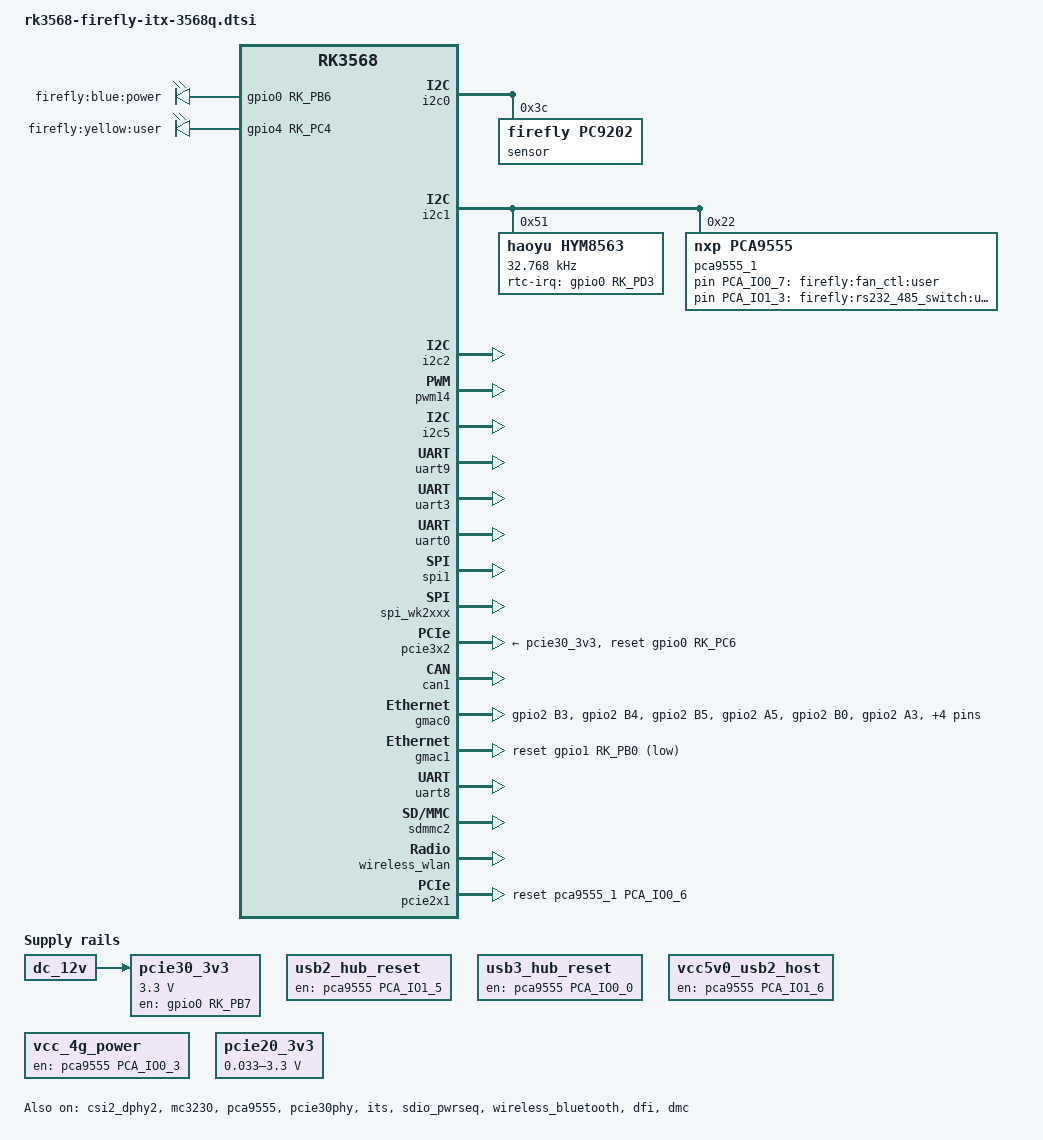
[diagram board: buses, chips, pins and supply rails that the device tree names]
// SPDX-License-Identifier: (GPL-2.0+ OR MIT)
/*
 * Copyright (c) 2020 Rockchip Electronics Co., Ltd.
 *
 */

#include "rk3568-firefly-port.dtsi"

/ {

	usb2_hub_reset: usb2-hub-reset-regulator {
		compatible = "regulator-fixed";
		enable-active-high;
		gpio = <&pca9555 PCA_IO1_5 GPIO_ACTIVE_HIGH>;
		regulator-name = "usb2_hub_reset_n";
		regulator-always-on;
	};

	usb3_hub_reset: usb3-hub-reset-regulator {
		compatible = "regulator-fixed";
		enable-active-high;
		gpio = <&pca9555 PCA_IO0_0 GPIO_ACTIVE_HIGH>;
		regulator-name = "usb3_hub_reset_n";
		regulator-always-on;
	};

	vcc5v0_usb2_host: vcc5v0-usb2-host-regulator {
		compatible = "regulator-fixed";
		enable-active-high;
		gpio = <&pca9555 PCA_IO1_6 GPIO_ACTIVE_HIGH>;
		regulator-name = "vcc5v0_usb2_host_en";
		regulator-always-on;
	};

    vcc_4g_power: vcc-4g-power-regulator {
        compatible = "regulator-fixed";
        enable-active-high;
        gpio = <&pca9555 PCA_IO0_3 GPIO_ACTIVE_HIGH>;
        regulator-name = "vcc_4g_power_en";
        regulator-always-on;
    };

// 	vcc_3v3_sata: vcc-sata-power-regulator {
//         compatible = "regulator-fixed";
//         enable-active-high;
//         gpio = <&pca9555 PCA_IO0_2 GPIO_ACTIVE_HIGH>;
//         regulator-name = "vcc_3v3_sata_en";
//         regulator-always-on;
//     };
//
// 	vcc_3v3_pci30: vcc-slot-power-regulator {
// 		compatible = "regulator-fixed";
// 		enable-active-high;
// 		gpio = <&gpio0 RK_PB7 GPIO_ACTIVE_HIGH>;
// 		regulator-name = "vcc_3v3_pci30_en";
// 		regulator-always-on;
// 	};

	firefly_leds: leds {
		status = "okay";
		compatible = "gpio-leds";

		power_led: power {
			label = "firefly:blue:power";
			linux,default-trigger = "ir-power-click";
			default-state = "on";
			gpios = <&gpio0 RK_PB6 GPIO_ACTIVE_HIGH>;
			pinctrl-names = "default";
			pinctrl-0 = <&led_power>;
		};

		user_led: user {
			label = "firefly:yellow:user";
			linux,default-trigger = "ir-user-click";
			default-state = "off";
			gpios = <&gpio4 RK_PC4 GPIO_ACTIVE_HIGH>;
			pinctrl-names = "default";
			pinctrl-0 = <&led_user>;
		};

		fan_ctl: fan-ctl {
			label = "firefly:fan_ctl:user";
			linux,default-trigger = "ir-user-click";
			default-state = "on";
			gpios = <&pca9555_1 PCA_IO0_7 GPIO_ACTIVE_HIGH>;
		};

		rs232_485_switch: rs232-485-switch {
			label = "firefly:rs232_485_switch:user";
			linux,default-trigger = "ir-user-click";
			default-state = "off";  //off:RS232 on:RS485
			gpios = <&pca9555_1 PCA_IO1_3 GPIO_ACTIVE_HIGH>;
		};

	};

// 	tp_power: tp-power-regulator {
// 		compatible = "regulator-fixed";
// 		enable-active-high;
// 		gpio = <&gpio3 RK_PA4 GPIO_ACTIVE_HIGH>;
// 		pinctrl-names = "default";
// 		pinctrl-0 = <&tp_power_en>;
// 		regulator-name = "tp_power_en";
// 		regulator-always-on;
// 	};

	pcie20_3v3: gpio-regulator {
		compatible = "regulator-gpio";
		regulator-name = "pcie20_3v3";
		regulator-min-microvolt = <0100000>;
		regulator-max-microvolt = <3300000>;
		gpios = <&pca9555 PCA_IO0_2 GPIO_ACTIVE_HIGH>;
		gpios-states = <0x1>;
		states = <0100000 0x0
			  3300000 0x1>;
	};
};

&vcc5v0_host {
	gpio = <&pca9555 PCA_IO1_4 GPIO_ACTIVE_HIGH>;
	/delete-property/ pinctrl-names;
	/delete-property/ pinctrl-0;
};


&csi2_dphy0 {
	status = "disabled";
};

&csi2_dphy1 {
	status = "disabled";
	/*
	* dphy1 only used for split mode,
	* can be used  concurrently  with dphy2
	* full mode and split mode are mutually exclusive
	*/
};

&csi2_dphy2 {
	status = "okay";
	/*
	* dphy2 only used for split mode,
	* can be used  concurrently  with dphy1
	* full mode and split mode are mutually exclusive
	*/
};

&rkisp_vir0 {
	status = "disabled";
};

&rkisp_vir1 {
	status = "disabled";
};

&i2c0 {
    status = "okay";
    sensor@3c{
        status = "okay";
        compatible = "firefly,pc9202";
        reg = <0x3c>;
        //wd-en-gpio = <&gpio3 23 GPIO_ACTIVE_HIGH>;
    };
};

&i2c1 {
	status = "okay";
	hym8563: hym8563@51 {
		status = "okay";
		compatible = "haoyu,hym8563";
		reg = <0x51>;
		#clock-cells = <0>;
		rtc-irq-gpio = <&gpio0 RK_PD3 IRQ_TYPE_EDGE_FALLING>;
		clock-frequency = <32768>;
		//clock-output-names = "xin32k";
		/* rtc_int is not connected */
	};

	pca9555_1: gpio@22 {
		status = "okay";
		compatible = "nxp,pca9555";
		reg = <0x22>;
		gpio-controller;
		#gpio-cells = <2>;
		gpio-group-num = <300>;
	};

    gslx680: gslx680@41 {
        status = "disabled";
        compatible = "gslX680";
        reg = <0x41>;
        screen_max_x = <800>;
        screen_max_y = <1280>;
        touch-gpio = <&gpio3 RK_PA3 IRQ_TYPE_LEVEL_LOW>;
        reset-gpio = <&gpio3 RK_PA5 GPIO_ACTIVE_HIGH>;
        flip-x = <1>;
        flip-y = <0>;
        swap-xy = <0>;
        gsl,fw = <1>;
    };

	/delete-node/ xc6130@23;
};

&i2c2{
	status = "okay";
	pinctrl-0 = <&i2c2m1_xfer>;
};

&vcc_camera {
	status = "disabled";
};

&pwm11 {
	status = "disabled";
};

&pwm14 {
	status = "okay";
};

&i2c5 {
    status = "okay";
    /delete-node/ hym8563@51;
};

&mc3230 {
    status = "okay";
};

&pca9555 {
    status = "okay";
};

&mc3230 {
    status = "okay";
};

&uart9 {
	pinctrl-names = "default";
	pinctrl-0 = <&uart9m1_xfer>;
	status = "okay";
};

&uart3 {
	pinctrl-names = "default";
	pinctrl-0 = <&uart3m0_xfer>;
	status = "okay";
};

&uart0 {
	status = "okay";
};

&spi1 {
	status = "okay";
};

&spi_wk2xxx {
	status = "okay";
};

&pcie30_3v3 {
	compatible = "regulator-fixed";
	regulator-min-microvolt = <3300000>;
	enable-active-high;
	regulator-always-on;
	regulator-boot-on;
	gpio = <&gpio0 RK_PB7 GPIO_ACTIVE_HIGH>;
	startup-delay-us = <10000>;
	vin-supply = <&dc_12v>;
	/delete-property/ gpios-states;
	/delete-property/ states;
};

&pcie30phy {
       status = "okay";
};

&pcie3x2 {
    reset-gpios = <&gpio0 RK_PC6 GPIO_ACTIVE_HIGH>;
    vpcie3v3-supply = <&pcie30_3v3>;
    status = "okay";
};

&its {
    status = "okay";
};

&can1 {
    status = "okay";
};

&can2 {
    status = "disabled";
};

/delete-node/ &vcc3v3_vga;

&gmac0 {
    status = "okay";
    tx_delay = <0x4a>;
    rx_delay = <0x35>;
	snps,reset-gpio = <&gpio0 RK_PD5 GPIO_ACTIVE_LOW>;

	clock_in_out = "output";
	assigned-clocks = <&cru SCLK_GMAC0_RX_TX>, <&cru SCLK_GMAC0>;
	assigned-clock-rates = <0>, <125000000>;
	assigned-clock-parents = <&cru SCLK_GMAC0_RGMII_SPEED>;

	pinctrl-names = "default";
	pinctrl-0 = <&gmac0_miim
		     &gmac0_tx_bus2
		     &gmac0_rx_bus2
		     &gmac0_rgmii_clk
		     &gmac0_rgmii_bus>;

};

&gmac1 {
    status = "okay";
    tx_delay = <0x4d>;
    rx_delay = <0x2d>;
	snps,reset-gpio = <&gpio1 RK_PB0 GPIO_ACTIVE_LOW>;

	clock_in_out = "output";
	assigned-clocks = <&cru SCLK_GMAC1_RX_TX>, <&cru SCLK_GMAC1>;
	assigned-clock-rates = <0>, <125000000>;
	assigned-clock-parents = <&cru SCLK_GMAC1_RGMII_SPEED>;

	pinctrl-names = "default";
	pinctrl-0 = <&gmac1m1_miim
		     &gmac1m1_tx_bus2
		     &gmac1m1_rx_bus2
		     &gmac1m1_rgmii_clk
		     &gmac1m1_rgmii_bus>;
};

&rgmii_phy0 {
	led_status_value = <0x6940>;
};

&rgmii_phy1 {
	led_status_value = <0x6940>;
};

&uart8 {
	status = "okay";
};

&sdio_pwrseq {
	status = "okay";
	reset-gpios = <&gpio3 RK_PD5 GPIO_ACTIVE_LOW>;
	post-power-on-delay-ms = <100>;
};

&sdmmc2 {
	status = "okay";
};

&wireless_wlan {
	wifi_chip_type = "ap6275s";
	status = "okay";
};

&wireless_bluetooth {
	BT,reset_gpio    = <&gpio1 RK_PB1 GPIO_ACTIVE_HIGH>;
	BT,wake_gpio     = <&gpio1 RK_PA4 GPIO_ACTIVE_HIGH>;
	BT,wake_host_irq = <&gpio1 RK_PB2 GPIO_ACTIVE_HIGH>;
	status = "okay";
};

&spdif_8ch{
    status = "disabled";
};

&rk809_codec {
    spk-ctl-gpios = <&pca9555 PCA_IO0_7 GPIO_ACTIVE_HIGH>;
	/delete-property/ pinctrl-1;
    hp-ctl-gpios = <&gpio2 RK_PC1 GPIO_ACTIVE_HIGH>;
    hp-det-adc-value = <200>;
    hp-adc-drift-scope = <200>;
};

&rk809 {
    rtc {
        status = "disabled";
    };
};

&pwm7 {
	status = "disabled";
};

&sata2 {
	status = "disabled";
	/delete-property/ pinctrl-0;
};

&pcie2x1 {
	reset-gpios = <&pca9555_1 PCA_IO0_6 GPIO_ACTIVE_HIGH>;
	status = "okay";
};

&dfi {
       status = "okay";
};

&dmc {
       status = "okay";
};

&pinctrl {

	leds {
	    led_power: led-power {
	        rockchip,pins = <0 RK_PC0 RK_FUNC_GPIO &pcfg_pull_none>;
	    };

		led_user: led-user {
			rockchip,pins = <4 RK_PC4 RK_FUNC_GPIO &pcfg_pull_none>;
		};
	};

	gmac0 {
		/omit-if-no-ref/
		gmac0_tx_bus2: gmac0-tx-bus2 {
			rockchip,pins =
				/* gmac0_txd0 */
				<2 RK_PB3 1 &pcfg_pull_none_drv_level_5>,
				/* gmac0_txd1 */
				<2 RK_PB4 1 &pcfg_pull_none_drv_level_5>,
				/* gmac0_txen */
				<2 RK_PB5 1 &pcfg_pull_none>;
		};

		/omit-if-no-ref/
		gmac0_rgmii_clk: gmac0-rgmii-clk {
			rockchip,pins =
				/* gmac0_rxclk */
				<2 RK_PA5 2 &pcfg_pull_none>,
				/* gmac0_txclk */
				<2 RK_PB0 2 &pcfg_pull_none_drv_level_5>;
		};

		/omit-if-no-ref/
		gmac0_rgmii_bus: gmac0-rgmii-bus {
			rockchip,pins =
				/* gmac0_rxd2 */
				<2 RK_PA3 2 &pcfg_pull_none>,
				/* gmac0_rxd3 */
				<2 RK_PA4 2 &pcfg_pull_none>,
				/* gmac0_txd2 */
				<2 RK_PA6 2 &pcfg_pull_none_drv_level_5>,
				/* gmac0_txd3 */
				<2 RK_PA7 2 &pcfg_pull_none_drv_level_5>;
		};
	};

	pcie30x2 {
		pcie30x2m0_pins: pcie30x2m0-pins {
			rockchip,pins =
				/* pcie30x2_clkreqnm0 */
				<0 RK_PA6 2 &pcfg_pull_none>,
				/* pcie30x2_perstnm0 */
				<0 RK_PC6 3 &pcfg_pull_none>,
				/* pcie30x2_wakenm0 */
				<0 RK_PC5 3 &pcfg_pull_none>;
		};
	};

//	touchscreen {
//		tp_power_en: tp-power-en {
//			rockchip,pins = <3 RK_PA4 RK_FUNC_GPIO &pcfg_pull_none>;
//		};
//	};

};
